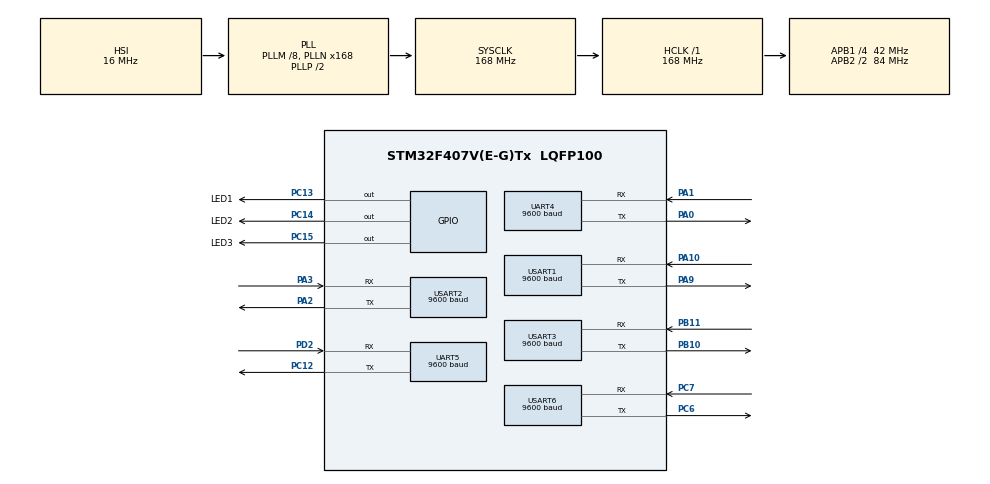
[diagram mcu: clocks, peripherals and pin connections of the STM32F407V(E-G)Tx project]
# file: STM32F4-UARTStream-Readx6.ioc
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Dma.Request0=UART4_RX
Dma.Request1=UART4_TX
Dma.Request10=USART6_RX
Dma.Request11=USART6_TX
Dma.Request2=USART3_RX
Dma.Request3=USART3_TX
Dma.Request4=UART5_RX
Dma.Request5=UART5_TX
Dma.Request6=USART2_RX
Dma.Request7=USART2_TX
Dma.Request8=USART1_RX
Dma.Request9=USART1_TX
Dma.UART4_RX.0.Direction=DMA_PERIPH_TO_MEMORY
Dma.UART4_RX.0.FIFOMode=DMA_FIFOMODE_DISABLE
Dma.UART4_RX.0.Instance=DMA1_Stream2
Dma.UART4_RX.0.MemDataAlignment=DMA_MDATAALIGN_BYTE
Dma.UART4_RX.0.MemInc=DMA_MINC_ENABLE
Dma.UART4_RX.0.Mode=DMA_NORMAL
Dma.UART4_RX.0.PeriphDataAlignment=DMA_PDATAALIGN_BYTE
Dma.UART4_RX.0.PeriphInc=DMA_PINC_DISABLE
Dma.UART4_RX.0.Priority=DMA_PRIORITY_LOW
Dma.UART4_TX.1.Direction=DMA_MEMORY_TO_PERIPH
Dma.UART4_TX.1.FIFOMode=DMA_FIFOMODE_DISABLE
Dma.UART4_TX.1.Instance=DMA1_Stream4
Dma.UART4_TX.1.MemDataAlignment=DMA_MDATAALIGN_BYTE
Dma.UART4_TX.1.MemInc=DMA_MINC_ENABLE
Dma.UART4_TX.1.Mode=DMA_NORMAL
Dma.UART4_TX.1.PeriphDataAlignment=DMA_PDATAALIGN_BYTE
Dma.UART4_TX.1.PeriphInc=DMA_PINC_DISABLE
Dma.UART4_TX.1.Priority=DMA_PRIORITY_LOW
Dma.UART5_RX.4.Direction=DMA_PERIPH_TO_MEMORY
Dma.UART5_RX.4.FIFOMode=DMA_FIFOMODE_DISABLE
Dma.UART5_RX.4.Instance=DMA1_Stream0
Dma.UART5_RX.4.MemDataAlignment=DMA_MDATAALIGN_BYTE
Dma.UART5_RX.4.MemInc=DMA_MINC_ENABLE
Dma.UART5_RX.4.Mode=DMA_NORMAL
Dma.UART5_RX.4.PeriphDataAlignment=DMA_PDATAALIGN_BYTE
Dma.UART5_RX.4.PeriphInc=DMA_PINC_DISABLE
Dma.UART5_RX.4.Priority=DMA_PRIORITY_LOW
Dma.UART5_TX.5.Direction=DMA_MEMORY_TO_PERIPH
Dma.UART5_TX.5.FIFOMode=DMA_FIFOMODE_DISABLE
Dma.UART5_TX.5.Instance=DMA1_Stream7
Dma.UART5_TX.5.MemDataAlignment=DMA_MDATAALIGN_BYTE
Dma.UART5_TX.5.MemInc=DMA_MINC_ENABLE
Dma.UART5_TX.5.Mode=DMA_NORMAL
Dma.UART5_TX.5.PeriphDataAlignment=DMA_PDATAALIGN_BYTE
Dma.UART5_TX.5.PeriphInc=DMA_PINC_DISABLE
Dma.UART5_TX.5.Priority=DMA_PRIORITY_LOW
Dma.USART1_RX.8.Direction=DMA_PERIPH_TO_MEMORY
Dma.USART1_RX.8.FIFOMode=DMA_FIFOMODE_DISABLE
Dma.USART1_RX.8.Instance=DMA2_Stream2
Dma.USART1_RX.8.MemDataAlignment=DMA_MDATAALIGN_BYTE
Dma.USART1_RX.8.MemInc=DMA_MINC_ENABLE
Dma.USART1_RX.8.Mode=DMA_NORMAL
Dma.USART1_RX.8.PeriphDataAlignment=DMA_PDATAALIGN_BYTE
Dma.USART1_RX.8.PeriphInc=DMA_PINC_DISABLE
Dma.USART1_RX.8.Priority=DMA_PRIORITY_LOW
Dma.USART1_TX.9.Direction=DMA_MEMORY_TO_PERIPH
Dma.USART1_TX.9.FIFOMode=DMA_FIFOMODE_DISABLE
Dma.USART1_TX.9.Instance=DMA2_Stream7
Dma.USART1_TX.9.MemDataAlignment=DMA_MDATAALIGN_BYTE
Dma.USART1_TX.9.MemInc=DMA_MINC_ENABLE
Dma.USART1_TX.9.Mode=DMA_NORMAL
Dma.USART1_TX.9.PeriphDataAlignment=DMA_PDATAALIGN_BYTE
Dma.USART1_TX.9.PeriphInc=DMA_PINC_DISABLE
Dma.USART1_TX.9.Priority=DMA_PRIORITY_LOW
Dma.USART2_RX.6.Direction=DMA_PERIPH_TO_MEMORY
Dma.USART2_RX.6.FIFOMode=DMA_FIFOMODE_DISABLE
Dma.USART2_RX.6.Instance=DMA1_Stream5
Dma.USART2_RX.6.MemDataAlignment=DMA_MDATAALIGN_BYTE
Dma.USART2_RX.6.MemInc=DMA_MINC_ENABLE
Dma.USART2_RX.6.Mode=DMA_NORMAL
Dma.USART2_RX.6.PeriphDataAlignment=DMA_PDATAALIGN_BYTE
Dma.USART2_RX.6.PeriphInc=DMA_PINC_DISABLE
Dma.USART2_RX.6.Priority=DMA_PRIORITY_LOW
Dma.USART2_TX.7.Direction=DMA_MEMORY_TO_PERIPH
Dma.USART2_TX.7.FIFOMode=DMA_FIFOMODE_DISABLE
Dma.USART2_TX.7.Instance=DMA1_Stream6
Dma.USART2_TX.7.MemDataAlignment=DMA_MDATAALIGN_BYTE
Dma.USART2_TX.7.MemInc=DMA_MINC_ENABLE
Dma.USART2_TX.7.Mode=DMA_NORMAL
Dma.USART2_TX.7.PeriphDataAlignment=DMA_PDATAALIGN_BYTE
Dma.USART2_TX.7.PeriphInc=DMA_PINC_DISABLE
Dma.USART2_TX.7.Priority=DMA_PRIORITY_LOW
Dma.USART3_RX.2.Direction=DMA_PERIPH_TO_MEMORY
Dma.USART3_RX.2.FIFOMode=DMA_FIFOMODE_DISABLE
Dma.USART3_RX.2.Instance=DMA1_Stream1
Dma.USART3_RX.2.MemDataAlignment=DMA_MDATAALIGN_BYTE
Dma.USART3_RX.2.MemInc=DMA_MINC_ENABLE
Dma.USART3_RX.2.Mode=DMA_NORMAL
Dma.USART3_RX.2.PeriphDataAlignment=DMA_PDATAALIGN_BYTE
Dma.USART3_RX.2.PeriphInc=DMA_PINC_DISABLE
Dma.USART3_RX.2.Priority=DMA_PRIORITY_LOW
Dma.USART3_TX.3.Direction=DMA_MEMORY_TO_PERIPH
Dma.USART3_TX.3.FIFOMode=DMA_FIFOMODE_DISABLE
Dma.USART3_TX.3.Instance=DMA1_Stream3
Dma.USART3_TX.3.MemDataAlignment=DMA_MDATAALIGN_BYTE
Dma.USART3_TX.3.MemInc=DMA_MINC_ENABLE
Dma.USART3_TX.3.Mode=DMA_NORMAL
Dma.USART3_TX.3.PeriphDataAlignment=DMA_PDATAALIGN_BYTE
Dma.USART3_TX.3.PeriphInc=DMA_PINC_DISABLE
Dma.USART3_TX.3.Priority=DMA_PRIORITY_LOW
Dma.USART6_RX.10.Direction=DMA_PERIPH_TO_MEMORY
Dma.USART6_RX.10.FIFOMode=DMA_FIFOMODE_DISABLE
Dma.USART6_RX.10.Instance=DMA2_Stream1
Dma.USART6_RX.10.MemDataAlignment=DMA_MDATAALIGN_BYTE
Dma.USART6_RX.10.MemInc=DMA_MINC_ENABLE
Dma.USART6_RX.10.Mode=DMA_NORMAL
Dma.USART6_RX.10.PeriphDataAlignment=DMA_PDATAALIGN_BYTE
Dma.USART6_RX.10.PeriphInc=DMA_PINC_DISABLE
Dma.USART6_RX.10.Priority=DMA_PRIORITY_LOW
Dma.USART6_TX.11.Direction=DMA_MEMORY_TO_PERIPH
Dma.USART6_TX.11.FIFOMode=DMA_FIFOMODE_DISABLE
Dma.USART6_TX.11.Instance=DMA2_Stream6
Dma.USART6_TX.11.MemDataAlignment=DMA_MDATAALIGN_BYTE
Dma.USART6_TX.11.MemInc=DMA_MINC_ENABLE
Dma.USART6_TX.11.Mode=DMA_NORMAL
Dma.USART6_TX.11.PeriphDataAlignment=DMA_PDATAALIGN_BYTE
Dma.USART6_TX.11.PeriphInc=DMA_PINC_DISABLE
Dma.USART6_TX.11.Priority=DMA_PRIORITY_LOW
Mcu.Family=STM32F4
Mcu.Name=STM32F407V(E-G)Tx
Mcu.Package=LQFP100
NVIC.DMA1_Stream0_IRQn=true\:0\:0\:false\:false\:true\:false\:true
NVIC.DMA1_Stream1_IRQn=true\:0\:0\:false\:false\:true\:false\:true
NVIC.DMA1_Stream2_IRQn=true\:0\:0\:false\:false\:true\:false\:true
NVIC.DMA1_Stream3_IRQn=true\:0\:0\:false\:false\:true\:false\:true
NVIC.DMA1_Stream4_IRQn=true\:0\:0\:false\:false\:true\:false\:true
NVIC.DMA1_Stream5_IRQn=true\:0\:0\:false\:false\:true\:false\:true
NVIC.DMA1_Stream6_IRQn=true\:0\:0\:false\:false\:true\:false\:true
NVIC.DMA1_Stream7_IRQn=true\:0\:0\:false\:false\:true\:false\:true
NVIC.DMA2_Stream1_IRQn=true\:0\:0\:false\:false\:true\:false\:true
NVIC.DMA2_Stream2_IRQn=true\:0\:0\:false\:false\:true\:false\:true
NVIC.DMA2_Stream6_IRQn=true\:0\:0\:false\:false\:true\:false\:true
NVIC.DMA2_Stream7_IRQn=true\:0\:0\:false\:false\:true\:false\:true
NVIC.PriorityGroup=NVIC_PRIORITYGROUP_4
NVIC.UART4_IRQn=true\:0\:0\:false\:false\:true\:true\:true
NVIC.UART5_IRQn=true\:0\:0\:false\:false\:true\:true\:true
NVIC.USART1_IRQn=true\:0\:0\:false\:false\:true\:true\:true
NVIC.USART2_IRQn=true\:0\:0\:false\:false\:true\:true\:true
NVIC.USART3_IRQn=true\:0\:0\:false\:false\:true\:true\:true
NVIC.USART6_IRQn=true\:0\:0\:false\:false\:true\:true\:true
PA0-WKUP.Mode=Asynchronous
PA0-WKUP.Signal=UART4_TX
PA1.Mode=Asynchronous
PA1.Signal=UART4_RX
PA10.Mode=Asynchronous
PA10.Signal=USART1_RX
PA2.Mode=Asynchronous
PA2.Signal=USART2_TX
PA3.Mode=Asynchronous
PA3.Signal=USART2_RX
PA9.Mode=Asynchronous
PA9.Signal=USART1_TX
PB10.Mode=Asynchronous
PB10.Signal=USART3_TX
PB11.Mode=Asynchronous
PB11.Signal=USART3_RX
PC12.Mode=Asynchronous
PC12.Signal=UART5_TX
PC13-ANTI_TAMP.GPIO_Label=LED1
PC13-ANTI_TAMP.Signal=GPIO_Output
PC14-OSC32_IN.GPIO_Label=LED2
PC14-OSC32_IN.Signal=GPIO_Output
PC15-OSC32_OUT.GPIO_Label=LED3
PC15-OSC32_OUT.Signal=GPIO_Output
PC6.Mode=Asynchronous
PC6.Signal=USART6_TX
PC7.Mode=Asynchronous
PC7.Signal=USART6_RX
PD2.Mode=Asynchronous
PD2.Signal=UART5_RX
ProjectManager.HeapSize=0x200
ProjectManager.StackSize=0x400
ProjectManager.TargetToolchain=MDK-ARM V5.27
RCC.48MHZClocksFreq_Value=84000000
RCC.AHBFreq_Value=168000000
RCC.APB1CLKDivider=RCC_HCLK_DIV4
RCC.APB1Freq_Value=42000000
RCC.APB1TimFreq_Value=84000000
RCC.APB2CLKDivider=RCC_HCLK_DIV2
RCC.APB2Freq_Value=84000000
RCC.APB2TimFreq_Value=168000000
RCC.CortexFreq_Value=168000000
RCC.FLatency=FLASH_LATENCY_5
RCC.HCLKFreq_Value=168000000
RCC.HSE_VALUE=25000000
RCC.HSI_VALUE=16000000
RCC.LSE_VALUE=32768
RCC.PLLM=8
RCC.PLLN=168
RCC.SYSCLKFreq_VALUE=168000000
RCC.SYSCLKSource=RCC_SYSCLKSOURCE_PLLCLK
RCC.VCOOutputFreq_Value=336000000
UART4.BaudRate=9600
UART4.Mode=MODE_TX_RX
UART4.OverSampling=UART_OVERSAMPLING_16
UART4.Parity=PARITY_NONE
UART4.StopBits=UART_STOPBITS_1
UART4.VirtualMode=Asynchronous
UART4.WordLength=WORDLENGTH_8B
UART5.BaudRate=9600
UART5.Mode=MODE_TX_RX
UART5.OverSampling=UART_OVERSAMPLING_16
UART5.Parity=PARITY_NONE
UART5.StopBits=UART_STOPBITS_1
UART5.VirtualMode=Asynchronous
UART5.WordLength=WORDLENGTH_8B
USART1.BaudRate=9600
USART1.Mode=MODE_TX_RX
USART1.OverSampling=UART_OVERSAMPLING_16
USART1.Parity=PARITY_NONE
USART1.StopBits=STOPBITS_1
USART1.VirtualMode=VM_ASYNC
USART1.WordLength=WORDLENGTH_8B
USART2.BaudRate=9600
USART2.Mode=MODE_TX_RX
USART2.OverSampling=UART_OVERSAMPLING_16
USART2.Parity=PARITY_NONE
USART2.StopBits=STOPBITS_1
USART2.VirtualMode=VM_ASYNC
USART2.WordLength=WORDLENGTH_8B
USART3.BaudRate=9600
USART3.Mode=MODE_TX_RX
USART3.OverSampling=UART_OVERSAMPLING_16
USART3.Parity=PARITY_NONE
USART3.StopBits=STOPBITS_1
USART3.VirtualMode=VM_ASYNC
USART3.WordLength=WORDLENGTH_8B
USART6.BaudRate=9600
USART6.Mode=MODE_TX_RX
USART6.OverSampling=UART_OVERSAMPLING_16
USART6.Parity=PARITY_NONE
USART6.StopBits=STOPBITS_1
USART6.VirtualMode=VM_ASYNC
USART6.WordLength=WORDLENGTH_8B
board=custom

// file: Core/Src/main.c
/* USER CODE BEGIN Header */
/**
  ******************************************************************************
  * @file           : main.c
  * @brief          : Main program body
  ******************************************************************************
  * @attention
  *
  * <h2><center>&copy; Copyright (c) 2025 STMicroelectronics.
  * All rights reserved.</center></h2>
  *
  * This software component is licensed by ST under BSD 3-Clause license,
  * the "License"; You may not use this file except in compliance with the
  * License. You may obtain a copy of the License at:
  *                        opensource.org/licenses/BSD-3-Clause
  *
  ******************************************************************************
  */
/* USER CODE END Header */
#include "main.h"
#include "dma.h"
#include "usart.h"
#include "gpio.h"

/* USER CODE BEGIN Includes */
#include "UARTStream.h"
/* USER CODE END Includes */

/* USER CODE BEGIN PV */
len_t len = {0};
buf_t  bufUart1 = {0};
buf_t  bufUart2 = {0};
buf_t  bufUart3 = {0};
buf_t  bufUart4 = {0};
buf_t  bufUart5 = {0};
buf_t  bufUart6 = {0};
/* USER CODE END PV */

void SystemClock_Config(void);

int main(void)
{

  /* MCU Configuration--------------------------------------------------------*/

  /* Reset of all peripherals, Initializes the Flash interface and the Systick. */
  HAL_Init();

  /* Configure the system clock */
  SystemClock_Config();

  /* Initialize all configured peripherals */
  MX_GPIO_Init();
  MX_DMA_Init();
  MX_USART1_UART_Init();
  MX_USART2_UART_Init();
  MX_USART3_UART_Init();
  MX_USART6_UART_Init();
  MX_UART5_Init();
  MX_UART4_Init();
  /* USER CODE BEGIN 2 */
	init_sensorsUart();
  /* USER CODE END 2 */

  /* Infinite loop */
  /* USER CODE BEGIN WHILE */
  while (1)
  {
		 len.uart1 = IStream_available(&uart1.Input);
		 while(len.uart1--)
		 {
				bufUart1.bufRx[bufUart1.rxIndexRead++] = Stream_readInt8(&uart1.Input.Buffer);
			  if(bufUart1.rxIndexRead >= sizeof(bufUart1.bufRx))
				{
					bufUart1.rxIndexRead = 0;
				}
		 }
		 len.uart2 = IStream_available(&uart2.Input);
		 while(len.uart2--)
		 {
				bufUart2.bufRx[bufUart2.rxIndexRead++] = Stream_readInt8(&uart2.Input.Buffer);
			  if(bufUart2.rxIndexRead >= sizeof(bufUart2.bufRx))
				{
					bufUart2.rxIndexRead = 0;
				}
		 }

		 len.uart3 = IStream_available(&uart3.Input);
		 while(len.uart3--)
		 {
				bufUart3.bufRx[bufUart3.rxIndexRead++] = Stream_readInt8(&uart3.Input.Buffer);
			  if(bufUart3.rxIndexRead >= sizeof(bufUart3.bufRx))
				{
					bufUart3.rxIndexRead = 0;
				}
		 }

		 len.uart4 = IStream_available(&uart4.Input);
		 while(len.uart4--)
		 {
				bufUart4.bufRx[bufUart4.rxIndexRead++] = Stream_readInt8(&uart4.Input.Buffer);
			  if(bufUart4.rxIndexRead >= sizeof(bufUart4.bufRx))
				{
					bufUart4.rxIndexRead = 0;
				}
		 }

		 len.uart5 = IStream_available(&uart5.Input);
		 while(len.uart5--)
		 {
				bufUart5.bufRx[bufUart5.rxIndexRead++] = Stream_readInt8(&uart5.Input.Buffer);
			  if(bufUart5.rxIndexRead >= sizeof(bufUart5.bufRx))
				{
					bufUart5.rxIndexRead = 0;
				}
		 }

		 len.uart6 = IStream_available(&uart6.Input);
		 while(len.uart6--)
		 {
				bufUart6.bufRx[bufUart6.rxIndexRead++] = Stream_readInt8(&uart6.Input.Buffer);
			  if(bufUart6.rxIndexRead >= sizeof(bufUart6.bufRx))
				{
					bufUart6.rxIndexRead = 0;
				}
		 }
    /* USER CODE END WHILE */

  }
}

void SystemClock_Config(void)
{
  RCC_OscInitTypeDef RCC_OscInitStruct = {0};
  RCC_ClkInitTypeDef RCC_ClkInitStruct = {0};

  /** Configure the main internal regulator output voltage
  */
  __HAL_RCC_PWR_CLK_ENABLE();
  __HAL_PWR_VOLTAGESCALING_CONFIG(PWR_REGULATOR_VOLTAGE_SCALE1);
  /** Initializes the RCC Oscillators according to the specified parameters
  * in the RCC_OscInitTypeDef structure.
  */
  RCC_OscInitStruct.OscillatorType = RCC_OSCILLATORTYPE_HSI;
  RCC_OscInitStruct.HSIState = RCC_HSI_ON;
  RCC_OscInitStruct.HSICalibrationValue = RCC_HSICALIBRATION_DEFAULT;
  RCC_OscInitStruct.PLL.PLLState = RCC_PLL_ON;
  RCC_OscInitStruct.PLL.PLLSource = RCC_PLLSOURCE_HSI;
  RCC_OscInitStruct.PLL.PLLM = 8;
  RCC_OscInitStruct.PLL.PLLN = 168;
  RCC_OscInitStruct.PLL.PLLP = RCC_PLLP_DIV2;
  RCC_OscInitStruct.PLL.PLLQ = 4;
  if (HAL_RCC_OscConfig(&RCC_OscInitStruct) != HAL_OK)
  {
    Error_Handler();
  }
  /** Initializes the CPU, AHB and APB buses clocks
  */
  RCC_ClkInitStruct.ClockType = RCC_CLOCKTYPE_HCLK|RCC_CLOCKTYPE_SYSCLK
                              |RCC_CLOCKTYPE_PCLK1|RCC_CLOCKTYPE_PCLK2;
  RCC_ClkInitStruct.SYSCLKSource = RCC_SYSCLKSOURCE_PLLCLK;
  RCC_ClkInitStruct.AHBCLKDivider = RCC_SYSCLK_DIV1;
  RCC_ClkInitStruct.APB1CLKDivider = RCC_HCLK_DIV4;
  RCC_ClkInitStruct.APB2CLKDivider = RCC_HCLK_DIV2;

  if (HAL_RCC_ClockConfig(&RCC_ClkInitStruct, FLASH_LATENCY_5) != HAL_OK)
  {
    Error_Handler();
  }
}

void Error_Handler(void)
{
  __disable_irq();
  while (1)
  {
  }
}

/************************ (C) COPYRIGHT STMicroelectronics *****END OF FILE****/
